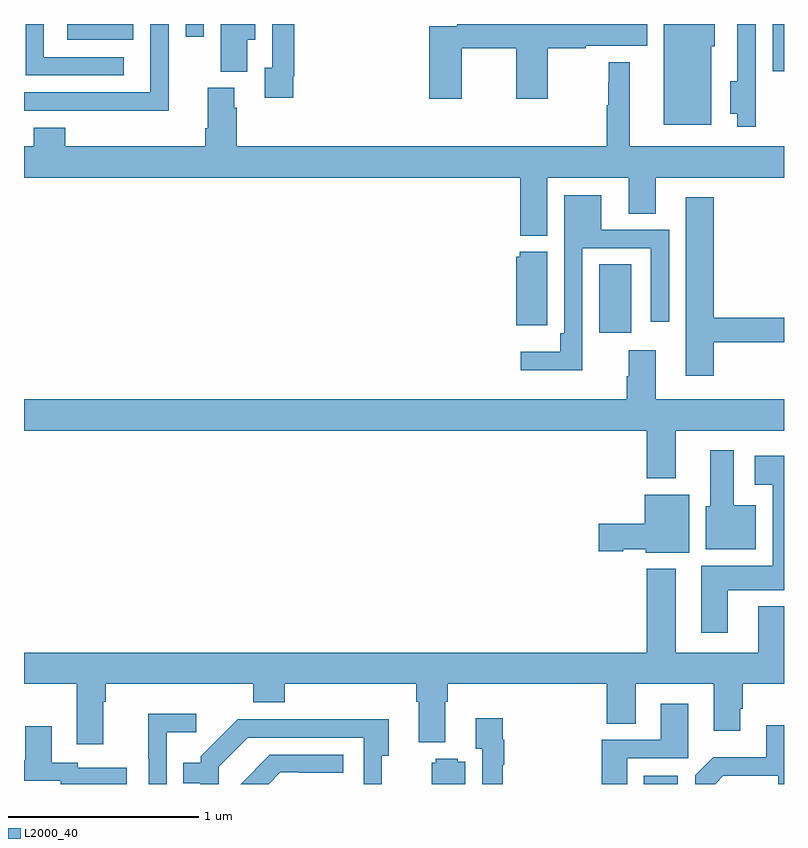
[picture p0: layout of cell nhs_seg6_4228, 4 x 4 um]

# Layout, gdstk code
import gdstk
lib = gdstk.Library(unit=1e-6, precision=1e-09)
def R(c, l, rs):  # rectangles x0, y0, x1, y1
    for r in rs: c.add(gdstk.rectangle(r[:2], r[2:], *l))
def P(c, l, *ps):  # polygons
    for p in ps: c.add(gdstk.Polygon(p, *l))
L2000_40 = (2000, 40)

nhs_seg6_4228 = lib.new_cell('nhs_seg6_4228')
R(nhs_seg6_4228, L2000_40, [(364.262,921.5,364.441,921.544), (364.028,923.874,364.195,924.236), (364.94,925.251,365,925.5), (361.227,925.418,361.576,925.5), (361.851,925.434,361.947,925.5)])
P(nhs_seg6_4228, L2000_40, [(364.852,925.182),(364.851,925.182),(364.851,925.5),(364.755,925.5),(364.755,925.199),(364.718,925.199),(364.718,925.028),(364.754,925.028),(364.754,924.96),(364.852,924.96)],
  [(363.304,925.372),(363.59,925.372),(363.59,925.107),(363.756,925.107),(363.756,925.372),(363.956,925.372),(363.956,925.385),(364.279,925.385),(364.279,925.5),(363.28,925.5),(363.28,925.488),(363.134,925.488),(363.134,925.107),(363.304,925.107)],
  [(362.176,925.418),(362.218,925.418),(362.218,925.5),(362.036,925.5),(362.036,925.249),(362.176,925.249)],
  [(361.525,925.326),(361.104,925.326),(361.104,925.5),(361.008,925.5),(361.008,925.23),(361.525,925.23)],
  [(361.763,925.346),(361.761,925.346),(361.761,925.5),(361.665,925.5),(361.665,925.14),(361,925.14),(361,925.044),(361.3,925.044),(361.3,925.043),(361.763,925.043)],
  [(362.416,925.225),(362.423,925.225),(362.423,925.5),(362.307,925.5),(362.307,925.269),(362.267,925.269),(362.267,925.113),(362.416,925.113)],
  [(364.618,925.383),(364.636,925.383),(364.636,925.5),(364.367,925.5),(364.367,924.971),(364.618,924.971)],
  [(363.754,924.692),(364.184,924.692),(364.184,924.502),(364.324,924.502),(364.324,924.692),(365,924.692),(365,924.856),(364.189,924.856),(364.189,925.3),(364.078,925.3),(364.078,925.193),(364.075,925.193),(364.075,925.073),(364.068,925.073),(364.068,924.856),(362.12,924.856),(362.12,925.058),(362.107,925.058),(362.107,925.164),(361.967,925.164),(361.967,924.952),(361.955,924.952),(361.955,924.856),(361.217,924.856),(361.217,924.955),(361.052,924.955),(361.052,924.856),(361,924.856),(361,924.692),(363.611,924.692),(363.611,924.386),(363.754,924.386)],
  [(363.939,924.321),(364.299,924.321),(364.299,923.934),(364.395,923.934),(364.395,924.417),(364.039,924.417),(364.039,924.598),(363.843,924.598),(363.843,923.872),(363.823,923.872),(363.823,923.776),(363.615,923.776),(363.615,923.678),(363.939,923.678)],
  [(364.631,923.826),(365,923.826),(365,923.954),(364.631,923.954),(364.631,924.589),(364.484,924.589),(364.484,923.649),(364.631,923.649)],
  [(363.754,924.301),(363.609,924.301),(363.609,924.276),(363.59,924.276),(363.59,923.915),(363.754,923.915)],
  [(364.429,923.36),(365,923.36),(365,923.524),(364.324,923.524),(364.324,923.782),(364.184,923.782),(364.184,923.645),(364.172,923.645),(364.172,923.524),(361,923.524),(361,923.36),(364.277,923.36),(364.277,923.108),(364.429,923.108)],
  [(364.852,922.966),(364.735,922.966),(364.735,923.257),(364.613,923.257),(364.613,922.962),(364.589,922.962),(364.589,922.736),(364.852,922.736)],
  [(364.705,922.52),(365,922.52),(365,923.227),(364.845,923.227),(364.845,923.075),(364.94,923.075),(364.94,922.648),(364.565,922.648),(364.565,922.296),(364.705,922.296)],
  [(364.501,923.023),(364.268,923.023),(364.268,922.871),(364.026,922.871),(364.026,922.724),(364.155,922.724),(364.155,922.736),(364.272,922.736),(364.272,922.718),(364.501,922.718)],
  [(361.417,921.932),(361.43,921.932),(361.43,922.028),(362.207,922.028),(362.207,921.929),(362.372,921.929),(362.372,922.028),(363.065,922.028),(363.065,921.932),(363.077,921.932),(363.077,921.719),(363.217,921.719),(363.217,921.932),(363.23,921.932),(363.23,922.028),(364.067,922.028),(364.067,921.817),(364.219,921.817),(364.219,922.028),(364.631,922.028),(364.631,921.78),(364.771,921.78),(364.771,921.895),(364.784,921.895),(364.784,922.028),(365,922.028),(365,922.435),(364.865,922.435),(364.865,922.192),(364.429,922.192),(364.429,922.633),(364.277,922.633),(364.277,922.192),(361,922.192),(361,922.028),(361.277,922.028),(361.277,921.708),(361.417,921.708)],
  [(364.174,921.636),(364.495,921.636),(364.495,921.922),(364.352,921.922),(364.352,921.732),(364.04,921.732),(364.04,921.5),(364.174,921.5)],
  [(361.752,921.773),(361.906,921.773),(361.906,921.871),(361.654,921.871),(361.654,921.632),(361.656,921.632),(361.656,921.5),(361.752,921.5)],
  [(363.52,921.602),(363.527,921.602),(363.527,921.734),(363.52,921.734),(363.52,921.847),(363.377,921.847),(363.377,921.686),(363.411,921.686),(363.411,921.5),(363.52,921.5)],
  [(362.025,921.591),(362.178,921.744),(362.787,921.744),(362.787,921.5),(362.883,921.5),(362.883,921.65),(362.92,921.65),(362.92,921.842),(362.455,921.842),(362.455,921.84),(362.124,921.84),(361.929,921.645),(361.929,921.613),(361.837,921.613),(361.837,921.504),(361.928,921.504),(361.928,921.5),(362.025,921.5)],
  [(364.68,921.543),(364.971,921.543),(364.971,921.5),(365,921.5),(365,921.808),(364.907,921.808),(364.907,921.64),(364.627,921.64),(364.533,921.546),(364.533,921.5),(364.637,921.5)],
  [(361.54,921.585),(361.284,921.585),(361.284,921.612),(361.147,921.612),(361.147,921.805),(361.007,921.805),(361.007,921.625),(361,921.625),(361,921.516),(361.194,921.516),(361.194,921.5),(361.54,921.5)],
  [(362.349,921.561),(362.449,921.561),(362.449,921.558),(362.68,921.558),(362.68,921.654),(362.294,921.654),(362.14,921.5),(362.288,921.5)],
  [(363.322,921.616),(363.282,921.616),(363.282,921.634),(363.168,921.634),(363.168,921.612),(363.146,921.612),(363.146,921.5),(363.322,921.5)])

lib.write_gds('nhs_seg6_4228.gds')
